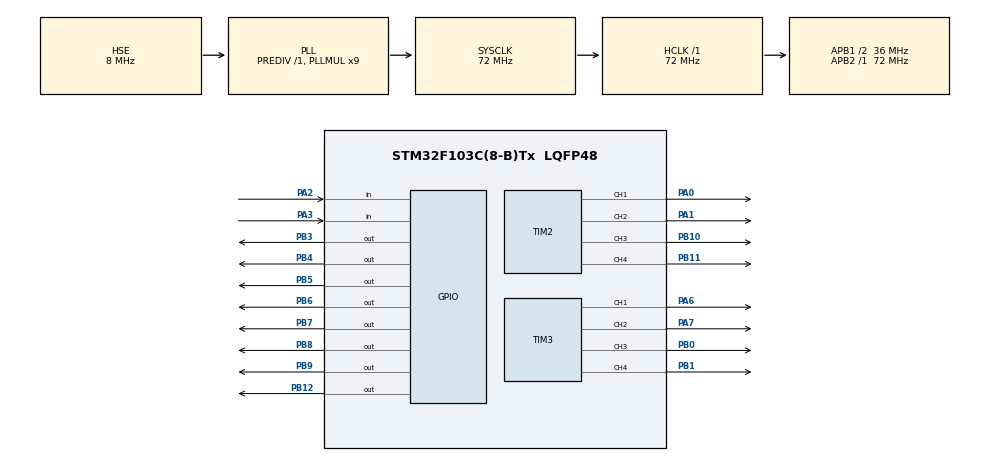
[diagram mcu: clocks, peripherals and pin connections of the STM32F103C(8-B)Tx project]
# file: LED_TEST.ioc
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Mcu.Family=STM32F1
Mcu.Name=STM32F103C(8-B)Tx
Mcu.Package=LQFP48
NVIC.PriorityGroup=NVIC_PRIORITYGROUP_4
PA0-WKUP.Signal=S_TIM2_CH1_ETR
PA1.Signal=S_TIM2_CH2
PA13.Mode=Serial_Wire
PA13.Signal=SYS_JTMS-SWDIO
PA14.Mode=Serial_Wire
PA14.Signal=SYS_JTCK-SWCLK
PA2.GPIO_PuPd=GPIO_PULLUP
PA2.Signal=GPIO_Input
PA3.GPIO_PuPd=GPIO_PULLUP
PA3.Signal=GPIO_Input
PA6.Signal=S_TIM3_CH1
PA7.Signal=S_TIM3_CH2
PB0.Signal=S_TIM3_CH3
PB1.Signal=S_TIM3_CH4
PB10.Signal=S_TIM2_CH3
PB11.Signal=S_TIM2_CH4
PB12.Signal=GPIO_Output
PB3.Signal=GPIO_Output
PB4.Signal=GPIO_Output
PB5.Signal=GPIO_Output
PB6.Signal=GPIO_Output
PB7.Signal=GPIO_Output
PB8.Signal=GPIO_Output
PB9.Signal=GPIO_Output
PD0-OSC_IN.Mode=HSE-External-Oscillator
PD0-OSC_IN.Signal=RCC_OSC_IN
PD1-OSC_OUT.Mode=HSE-External-Oscillator
PD1-OSC_OUT.Signal=RCC_OSC_OUT
ProjectManager.HeapSize=0x200
ProjectManager.StackSize=0x400
ProjectManager.TargetToolchain=MDK-ARM V5.32
RCC.AHBFreq_Value=72000000
RCC.APB1CLKDivider=RCC_HCLK_DIV2
RCC.APB1Freq_Value=36000000
RCC.APB1TimFreq_Value=72000000
RCC.APB2Freq_Value=72000000
RCC.APB2TimFreq_Value=72000000
RCC.HCLKFreq_Value=72000000
RCC.PLLMUL=RCC_PLL_MUL9
RCC.PLLSourceVirtual=RCC_PLLSOURCE_HSE
RCC.SYSCLKFreq_VALUE=72000000
RCC.SYSCLKSource=RCC_SYSCLKSOURCE_PLLCLK
RCC.USBFreq_Value=72000000
SH.S_TIM2_CH1_ETR.0=TIM2_CH1,PWM Generation1 CH1
SH.S_TIM2_CH2.0=TIM2_CH2,PWM Generation2 CH2
SH.S_TIM2_CH3.0=TIM2_CH3,PWM Generation3 CH3
SH.S_TIM2_CH4.0=TIM2_CH4,PWM Generation4 CH4
SH.S_TIM3_CH1.0=TIM3_CH1,PWM Generation1 CH1
SH.S_TIM3_CH2.0=TIM3_CH2,PWM Generation2 CH2
SH.S_TIM3_CH3.0=TIM3_CH3,PWM Generation3 CH3
SH.S_TIM3_CH4.0=TIM3_CH4,PWM Generation4 CH4
TIM2.Channel-PWM\ Generation1\ CH1=TIM_CHANNEL_1
TIM2.Channel-PWM\ Generation2\ CH2=TIM_CHANNEL_2
TIM2.Channel-PWM\ Generation3\ CH3=TIM_CHANNEL_3
TIM2.Channel-PWM\ Generation4\ CH4=TIM_CHANNEL_4
TIM3.Channel-PWM\ Generation1\ CH1=TIM_CHANNEL_1
TIM3.Channel-PWM\ Generation2\ CH2=TIM_CHANNEL_2
TIM3.Channel-PWM\ Generation3\ CH3=TIM_CHANNEL_3
TIM3.Channel-PWM\ Generation4\ CH4=TIM_CHANNEL_4
board=custom

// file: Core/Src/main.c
/* USER CODE BEGIN Header */
/**
  ******************************************************************************
  * @file           : main.c
  * @brief          : Main program body
  ******************************************************************************
  * @attention
  *
  * Copyright (c) 2024 STMicroelectronics.
  * All rights reserved.
  *
  * This software is licensed under terms that can be found in the LICENSE file
  * in the root directory of this software component.
  * If no LICENSE file comes with this software, it is provided AS-IS.
  *
  ******************************************************************************
  */
/* USER CODE END Header */
#include "main.h"
#include "tim.h"
#include "gpio.h"
#define LED_PIN_1 GPIO_PIN_3
#define LED_PIN_2 GPIO_PIN_4
#define LED_PIN_3 GPIO_PIN_5
#define LED_PIN_4 GPIO_PIN_6
#define LED_PIN_5 GPIO_PIN_7
#define LED_PIN_6 GPIO_PIN_8
#define LED_PIN_7 GPIO_PIN_9//宏定义，便于用for循环实现七个引脚的控制

void SystemClock_Config(void);
/* USER CODE BEGIN PFP */

void flow_led(void)
{
	for(int i=0;i<7;i++)
	{
		HAL_GPIO_WritePin(GPIOB,LED_PIN_1<<i,GPIO_PIN_SET);//LED_PIN_1<<是一个位移操作，将LED_PIN_1的值左移i位
		HAL_Delay(500);                                    //这里假设LED_PIN_1是一个常量，表示某个特定的LED引脚编号
		HAL_GPIO_WritePin(GPIOB,LED_PIN_1<<i,GPIO_PIN_RESET);//通过左移操作，可以生成不同的LED引脚编号，从而控制多个LED灯。
  }
}

void STOP_led(void)
{
	for(int i=0;i<7;i++)
	{
		HAL_GPIO_WritePin(GPIOB,LED_PIN_1<<i,GPIO_PIN_SET);//将LED的七个引脚电平拉高，即使七个LED熄灭。

  }
}
/* USER CODE END PFP */

int main(void)
{

  /* MCU Configuration--------------------------------------------------------*/

  /* Reset of all peripherals, Initializes the Flash interface and the Systick. */
  HAL_Init();

  /* Configure the system clock */
  SystemClock_Config();

  /* Initialize all configured peripherals */
  MX_GPIO_Init();
  MX_TIM2_Init();
  MX_TIM3_Init();
  /* USER CODE BEGIN 2 */
  STOP_led();

  /* USER CODE END 2 */

  /* Infinite loop */
  while (1)
  {

    /* USER CODE BEGIN 3 */
		if(HAL_GPIO_ReadPin(GPIOA,GPIO_PIN_3)==GPIO_PIN_RESET)//检测到PA3开关是否按下
   {
	  flow_led();                                         //流水灯函数实现。
		STOP_led();                                         //将引脚电平拉高，使灯都熄灭。
   }
    if(HAL_GPIO_ReadPin(GPIOA,GPIO_PIN_2)==GPIO_PIN_RESET)//检测到PA2开关是否按下
   {
	  HAL_GPIO_WritePin(GPIOB,GPIO_PIN_12,GPIO_PIN_RESET); //将PB12电平拉低
		HAL_Delay(100);
   }
	 else
	 {
		 HAL_GPIO_WritePin(GPIOB,GPIO_PIN_12,GPIO_PIN_SET);  //将PB12电平拉高
	 }

	}
  /* USER CODE END 3 */
}

void SystemClock_Config(void)
{
  RCC_OscInitTypeDef RCC_OscInitStruct = {0};
  RCC_ClkInitTypeDef RCC_ClkInitStruct = {0};

  /** Initializes the RCC Oscillators according to the specified parameters
  * in the RCC_OscInitTypeDef structure.
  */
  RCC_OscInitStruct.OscillatorType = RCC_OSCILLATORTYPE_HSE;
  RCC_OscInitStruct.HSEState = RCC_HSE_ON;
  RCC_OscInitStruct.HSEPredivValue = RCC_HSE_PREDIV_DIV1;
  RCC_OscInitStruct.HSIState = RCC_HSI_ON;
  RCC_OscInitStruct.PLL.PLLState = RCC_PLL_ON;
  RCC_OscInitStruct.PLL.PLLSource = RCC_PLLSOURCE_HSE;
  RCC_OscInitStruct.PLL.PLLMUL = RCC_PLL_MUL9;
  if (HAL_RCC_OscConfig(&RCC_OscInitStruct) != HAL_OK)
  {
    Error_Handler();
  }

  /** Initializes the CPU, AHB and APB buses clocks
  */
  RCC_ClkInitStruct.ClockType = RCC_CLOCKTYPE_HCLK|RCC_CLOCKTYPE_SYSCLK
                              |RCC_CLOCKTYPE_PCLK1|RCC_CLOCKTYPE_PCLK2;
  RCC_ClkInitStruct.SYSCLKSource = RCC_SYSCLKSOURCE_PLLCLK;
  RCC_ClkInitStruct.AHBCLKDivider = RCC_SYSCLK_DIV1;
  RCC_ClkInitStruct.APB1CLKDivider = RCC_HCLK_DIV2;
  RCC_ClkInitStruct.APB2CLKDivider = RCC_HCLK_DIV1;

  if (HAL_RCC_ClockConfig(&RCC_ClkInitStruct, FLASH_LATENCY_2) != HAL_OK)
  {
    Error_Handler();
  }
}

void Error_Handler(void)
{
  __disable_irq();
  while (1)
  {
  }
}
